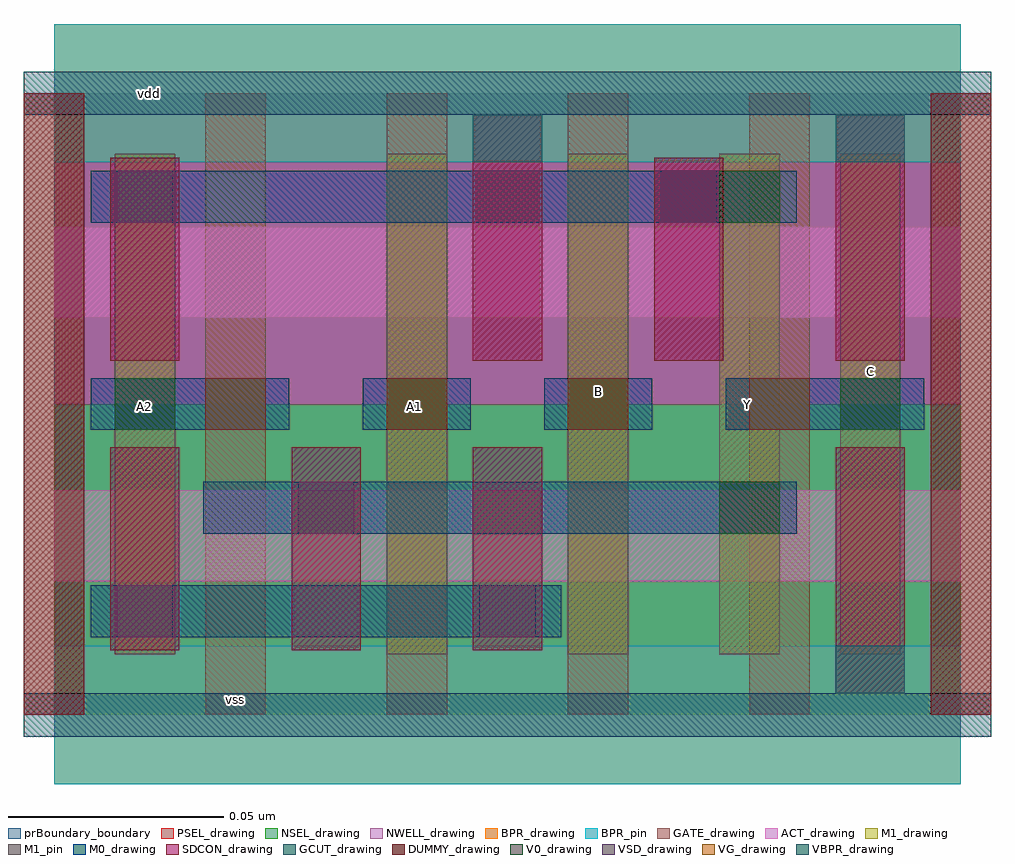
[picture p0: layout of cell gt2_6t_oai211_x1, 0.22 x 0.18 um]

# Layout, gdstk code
import gdstk
lib = gdstk.Library(unit=1e-6, precision=5e-10)
def R(c, l, rs):  # rectangles x0, y0, x1, y1
    for r in rs: c.add(gdstk.rectangle(r[:2], r[2:], *l))
def A(c, l, x, y, w, h, nx, ny, dx, dy):  # array of equal rectangles
    R(c, l, [(x+i*dx, y+j*dy, x+i*dx+w, y+j*dy+h) for i in range(nx) for j in range(ny)])
NWELL_drawing = (1, 0)
ACT_drawing = (2, 0)
GATE_drawing = (3, 0)
DUMMY_drawing = (4, 0)
GCUT_drawing = (5, 0)
NSEL_drawing = (6, 0)
PSEL_drawing = (7, 0)
BPR_drawing = (8, 0)
BPR_pin = (8, 251)
VBPR_drawing = (9, 0)
SDCON_drawing = (10, 0)
VSD_drawing = (11, 0)
VG_drawing = (12, 0)
M0_drawing = (20, 0)
V0_drawing = (22, 0)
M1_drawing = (25, 0)
M1_pin = (25, 251)
prBoundary_boundary = (235, 250)

gt2_6t_oai211_x1 = lib.new_cell('gt2_6t_oai211_x1')
R(gt2_6t_oai211_x1, NWELL_drawing, [(0,0.072,0.21,0.144)])
R(gt2_6t_oai211_x1, ACT_drawing, [(0,0.031,0.21,0.052), (0,0.092,0.21,0.113)])
A(gt2_6t_oai211_x1, GATE_drawing, -0.007, 0, 0.014, 0.144, 6, 1, 0.042, 0)
R(gt2_6t_oai211_x1, DUMMY_drawing, [(-0.007,0,0.007,0.144), (0.203,0,0.217,0.144)])
R(gt2_6t_oai211_x1, GCUT_drawing, [(-0.007,-0.005,0.217,0.005), (-0.007,0.139,0.217,0.149)])
R(gt2_6t_oai211_x1, NSEL_drawing, [(0,0,0.21,0.072)])
R(gt2_6t_oai211_x1, PSEL_drawing, [(0,0.072,0.21,0.144)])
R(gt2_6t_oai211_x1, BPR_drawing, [(0,-0.016,0.21,0.016), (0,0.128,0.21,0.16)])
R(gt2_6t_oai211_x1, BPR_pin, [(0,-0.016,0.21,0.016), (0,0.128,0.21,0.16)])
R(gt2_6t_oai211_x1, VBPR_drawing, [(0.181,0.005,0.197,0.016), (0.097,0.128,0.113,0.139), (0.181,0.128,0.197,0.139)])
A(gt2_6t_oai211_x1, SDCON_drawing, 0.013, 0.015, 0.016, 0.047, 3, 1, 0.042, 0)
R(gt2_6t_oai211_x1, SDCON_drawing, [(0.181,0.005,0.197,0.062), (0.013,0.082,0.029,0.129), (0.097,0.082,0.113,0.139), (0.139,0.082,0.155,0.129), (0.181,0.082,0.197,0.139)])
R(gt2_6t_oai211_x1, VSD_drawing, [(0.0145,0.018,0.0275,0.03), (0.0985,0.018,0.1115,0.03), (0.0565,0.042,0.0695,0.054), (0.0145,0.114,0.0275,0.126), (0.1405,0.114,0.1535,0.126)])
A(gt2_6t_oai211_x1, VG_drawing, 0.035, 0.066, 0.014, 0.012, 4, 1, 0.042, 0)
R(gt2_6t_oai211_x1, M0_drawing, [(0.0085,0.018,0.1175,0.03), (0.0345,0.042,0.172,0.054), (0.0085,0.066,0.0545,0.078), (0.0715,0.066,0.0965,0.078), (0.1135,0.066,0.1385,0.078), (0.1555,0.066,0.2015,0.078), (0.0085,0.114,0.172,0.126)])
R(gt2_6t_oai211_x1, V0_drawing, [(0.154,0.042,0.168,0.054), (0.014,0.066,0.028,0.078), (0.077,0.066,0.091,0.078), (0.119,0.066,0.133,0.078), (0.182,0.066,0.196,0.078), (0.154,0.114,0.168,0.126)])
R(gt2_6t_oai211_x1, M1_drawing, [(0.014,0.014,0.028,0.13), (0.077,0.014,0.091,0.13), (0.119,0.014,0.133,0.13), (0.154,0.014,0.168,0.13), (0.182,0.014,0.196,0.13)])
R(gt2_6t_oai211_x1, M1_pin, [(0.014,0.014,0.028,0.13), (0.077,0.014,0.091,0.13), (0.119,0.014,0.133,0.13), (0.154,0.014,0.168,0.13), (0.182,0.014,0.196,0.13)])
R(gt2_6t_oai211_x1, prBoundary_boundary, [(0,0,0.21,0.144)])
gt2_6t_oai211_x1.add(gdstk.Label('vss', (0.042,0.0035), layer=8, texttype=251))
gt2_6t_oai211_x1.add(gdstk.Label('vdd', (0.022,0.144), layer=8, texttype=251))
gt2_6t_oai211_x1.add(gdstk.Label('C', (0.189,0.0795), layer=25, texttype=251))
gt2_6t_oai211_x1.add(gdstk.Label('Y', (0.1605,0.072), layer=25, texttype=251))
gt2_6t_oai211_x1.add(gdstk.Label('B', (0.126,0.075), layer=25, texttype=251))
gt2_6t_oai211_x1.add(gdstk.Label('A1', (0.0835,0.0715), layer=25, texttype=251))
gt2_6t_oai211_x1.add(gdstk.Label('A2', (0.021,0.0715), layer=25, texttype=251))

lib.write_gds('gt2_6t_oai211_x1.gds')
